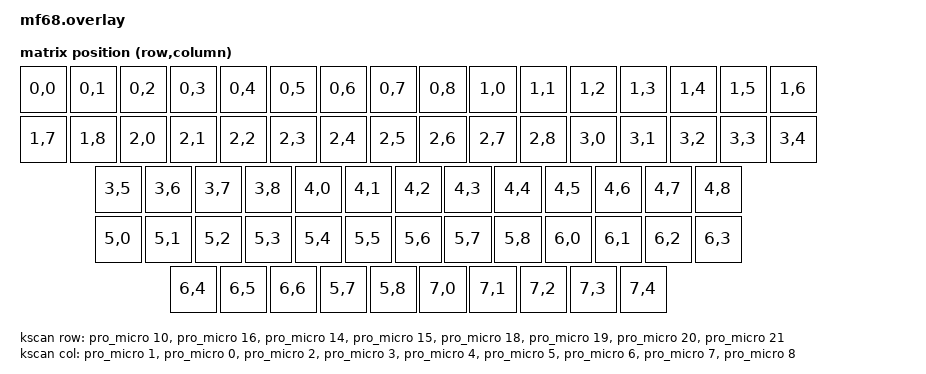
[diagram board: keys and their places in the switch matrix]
#include <physical_layouts.dtsi>
#include <dt-bindings/zmk/matrix_transform.h>



/ {
    chosen {
        zmk,kscan = &kscan;
        zmk,matrix_transform = &transform;
    };
    
    aliases {
        led-red = &led0;
        led-green = &led1;
        led-blue = &led2;
    };

    leds {
        compatible = "gpio-leds";
        status = "okay";
        led0: led_0 {
            gpios = <&gpio1 1 GPIO_ACTIVE_LOW>;
        };
        led1: led_1 {
            gpios = <&gpio1 2 GPIO_ACTIVE_LOW>;
        };
        led2: led_2 {
            gpios = <&gpio1 7 GPIO_ACTIVE_LOW>;
        };
    };


    kscan: kscan {
        compatible = "zmk,kscan-gpio-matrix";
        label = "KSCAN";
        diode-direction = "col2row";

        row-gpios = <&pro_micro 10 (GPIO_ACTIVE_LOW)>,  /* Pro Micro B6 -> P0.10 */
                    <&pro_micro 16 (GPIO_ACTIVE_LOW)>,  /* Pro Micro B2 -> P0.11 */
                    <&pro_micro 14 (GPIO_ACTIVE_LOW)>,  /* Pro Micro B3 -> P0.12 */
                    <&pro_micro 15 (GPIO_ACTIVE_LOW)>,  /* Pro Micro B1 -> P0.13 */
                    <&pro_micro 18 (GPIO_ACTIVE_LOW)>,  /* Pro Micro F7 -> P0.14 */
                    <&pro_micro 19 (GPIO_ACTIVE_LOW)>,  /* Pro Micro F6 -> P0.15 */
                    <&pro_micro 20 (GPIO_ACTIVE_LOW)>,  /* Pro Micro F3 -> P0.16 */
                    <&pro_micro 21 (GPIO_ACTIVE_LOW)>;  /* Pro Micro F4 -> P0.17 */

        col-gpios = <&pro_micro 1  (GPIO_ACTIVE_LOW)>,  /* Pro Micro D3 -> P0.02 */
                    <&pro_micro 0  (GPIO_ACTIVE_LOW)>,  /* Pro Micro D2 -> P0.03 */
                    <&pro_micro 2  (GPIO_ACTIVE_LOW)>, /* Pro Micro D1 -> P0.28 */
                    <&pro_micro 3  (GPIO_ACTIVE_LOW)>, /* Pro Micro D0 -> P0.29 */
                    <&pro_micro 4  (GPIO_ACTIVE_LOW)>, /* Pro Micro D4 -> P0.30 */
                    <&pro_micro 5  (GPIO_ACTIVE_LOW)>, /* Pro Micro C6 -> P0.31 */
                    <&pro_micro 6  (GPIO_ACTIVE_LOW)>,  /* Pro Micro D7 -> P1.02 */
                    <&pro_micro 7  (GPIO_ACTIVE_LOW)>,  /* Pro Micro E6 -> P1.04 */
                    <&pro_micro 8  (GPIO_ACTIVE_LOW)>;  /* Pro Micro B4 -> P1.06 */
    };

    transform: matrix_transform {
        compatible = "zmk,matrix-transform";
        rows = <5>;
        columns = <16>;

        map = <
                     RC(0, 0) RC(0, 1) RC(0, 2) RC(0, 3) RC(0, 4) RC(0, 5) RC(0, 6) RC(0, 7) RC(0, 8) RC(1, 0) RC(1, 1) RC(1, 2) RC(1, 3)     RC(1, 4)      RC(1, 5) RC(1, 6)
                     RC(1, 7)   RC(1, 8) RC(2, 0) RC(2, 1) RC(2, 2) RC(2, 3) RC(2, 4) RC(2, 5) RC(2, 6) RC(2, 7) RC(2, 8) RC(3, 0) RC(3, 1)    RC(3, 2)     RC(3, 3) RC(3, 4)
                      RC(3, 5)    RC(3, 6) RC(3, 7) RC(3, 8) RC(4, 0) RC(4, 1) RC(4, 2) RC(4, 3) RC(4, 4) RC(4, 5) RC(4, 6) RC(4, 7)          RC(4, 8)
                       RC(5, 0)     RC(5, 1) RC(5, 2) RC(5, 3) RC(5, 4) RC(5, 5) RC(5, 6) RC(5, 7) RC(5, 8) RC(6, 0) RC(6, 1)                RC(6, 2)       RC(6, 3)
                     RC(6, 4) RC(6, 5) RC(6, 6)                             RC(5, 7)                          RC(5, 8) RC(7, 0) RC(7, 1)           RC(7, 2) RC(7, 3) RC(7, 4)
        >;
    };

};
